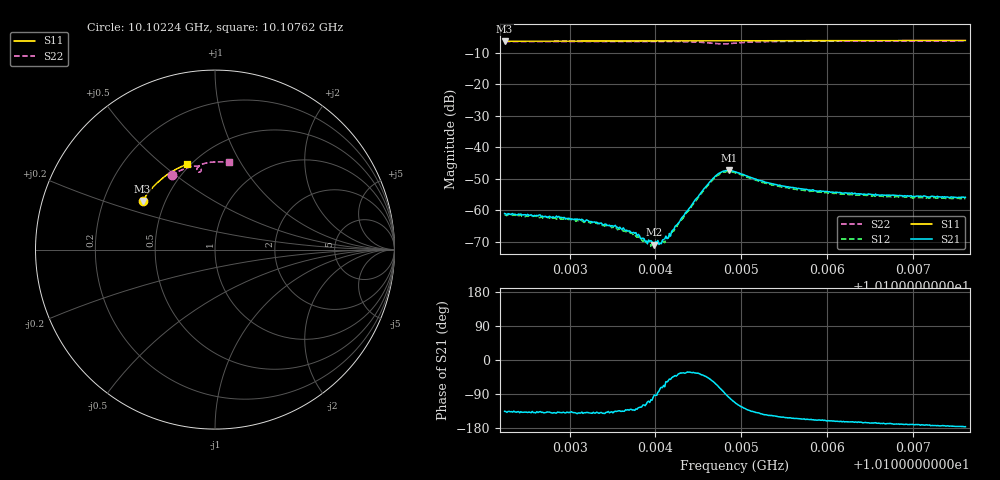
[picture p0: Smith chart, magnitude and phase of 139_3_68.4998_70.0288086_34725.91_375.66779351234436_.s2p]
#  HZ  S  RI  R  50.00
! Rohde & Schwarz Vector Network Analyzer
! Rohde-Schwarz,ZNB20-2Port,1311601062101988,3.16
! Created: UTC 3/20/2024, 4:54:48 PM
! freq[Hz]  re:S11  im:S11  re:S21  im:S21  re:S12  im:S12  re:S22  im:S22
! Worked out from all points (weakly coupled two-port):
!   401 points, 10.10224 GHz to 10.10762 GHz, reference 50 ohm
!   highest |S21| = -47.37 dB at 10.10486 GHz (marker M1); lowest = -71.0 dB at 10.10399 GHz (marker M2)
!   lowest |S11| = -6.3 dB at 10.10224 GHz (marker M3), VSWR 2.89, Z = 18.7 + j13.3 ohm
!   |S11| at or under -10 dB: nowhere
!   |S22| runs from -7.1 to -6.2 dB; largest |S21 - S12| = 0.00043
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1.0102241e10  -0.4033 0.2711  -0.00063 -0.000621  -0.000553 -0.000653  -0.2416 0.413
1.0102577e10  -0.3924 0.2885  -0.000608 -0.000528  -0.000552 -0.000573  -0.223 0.4245
1.0103141e10  -0.3725 0.3163  -0.000529 -0.000485  -0.000479 -0.000488  -0.1895 0.4419
1.0103329e10  -0.3655 0.3254  -0.000476 -0.00041  -0.000428 -0.000428  -0.178 0.447
1.0103558e10  -0.3564 0.336  -0.000376 -0.000379  -0.000338 -0.00035  -0.1633 0.453
1.0103706e10  -0.3505 0.3428  -0.000298 -0.000351  -0.000242 -0.000359  -0.1536 0.4564
1.0103773e10  -0.3477 0.3459  -0.000277 -0.000343  -0.000217 -0.000315  -0.149 0.458
1.010388e10  -0.3433 0.3507  -0.000162 -0.000274  -9.64e-05 -0.000316  -0.1413 0.4604
1.0103988e10  -0.339 0.3554  -1.1e-05 -0.000282  -2.38e-05 -0.000285  -0.1336 0.4624
1.0104041e10  -0.3366 0.3578  3.81e-05 -0.000286  5.23e-05 -0.00028  -0.1295 0.4632
1.0104068e10  -0.3354 0.3588  9.09e-05 -0.00028  9.85e-05 -0.000301  -0.1274 0.4636
1.0104135e10  -0.3326 0.3618  0.000187 -0.0003  0.000209 -0.0003  -0.122 0.4645
1.0104162e10  -0.3315 0.363  0.000274 -0.000327  0.000266 -0.000275  -0.1198 0.4649
1.0104458e10  -0.3185 0.3755  0.00118 -0.000802  0.00118 -0.000631  -0.0924 0.463
1.0104673e10  -0.3085 0.384  0.00177 -0.00268  0.00192 -0.00238  -0.0765 0.4435
1.0104767e10  -0.3044 0.3877  0.000883 -0.00393  0.00119 -0.00373  -0.0832 0.4326
1.0104861e10  -0.3003 0.3912  -0.000713 -0.00422  -0.000316 -0.00407  -0.0958 0.4341
1.0104928e10  -0.2972 0.3938  -0.00157 -0.00376  -0.00119 -0.00378  -0.1005 0.4416
1.0105385e10  -0.2754 0.411  -0.00218 -0.00139  -0.00198 -0.00149  -0.0736 0.475
1.0105828e10  -0.2534 0.4262  -0.00195 -0.000794  -0.00178 -0.000928  -0.0411 0.4838
1.0106729e10  -0.2061 0.4533  -0.0017 -0.00037  -0.00156 -0.000515  0.0197 0.489
1.0107615e10  -0.1567 0.4744  -0.0016 -0.000112  -0.00149 -0.000268  0.0771 0.4857
